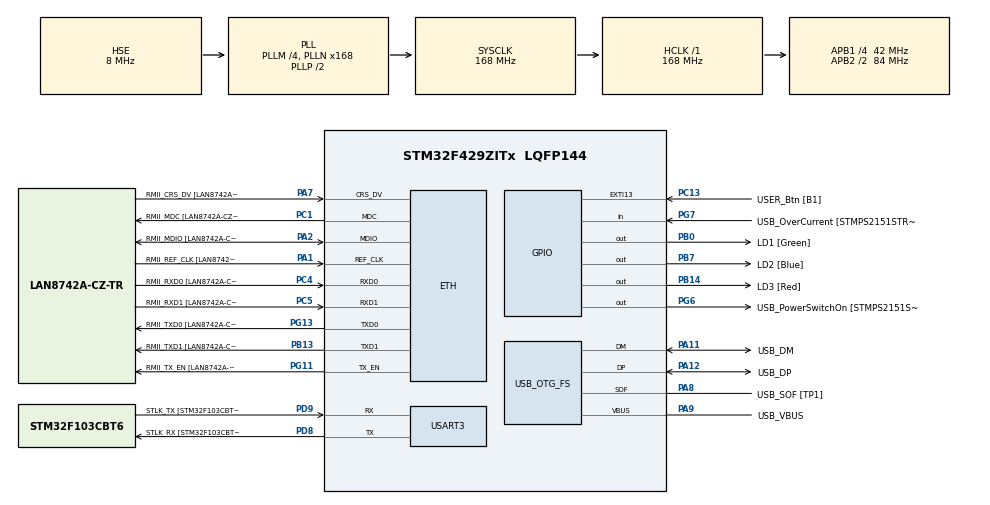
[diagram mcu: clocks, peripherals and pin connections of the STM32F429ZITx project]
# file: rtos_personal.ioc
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ETH.MediaInterface=HAL_ETH_RMII_MODE
ETH.PHY_Name=LAN8742A_PHY_ADDRESS
ETH.PHY_Value=0
ETH.PhyAddress=0
FREERTOS.Tasks01=defaultTask,24,128,StartDefaultTask,Default,NULL,Dynamic,NULL,NULL
Mcu.Family=STM32F4
Mcu.Name=STM32F429ZITx
Mcu.Package=LQFP144
NVIC.PriorityGroup=NVIC_PRIORITYGROUP_4
PA1.GPIO_Label=RMII_REF_CLK [LAN8742A-CZ-TR_REFCLK0]
PA1.Mode=RMII
PA1.Signal=ETH_REF_CLK
PA10.GPIO_Label=USB_ID
PA10.Signal=USB_OTG_FS_ID
PA11.GPIO_Label=USB_DM
PA11.Mode=Device_Only
PA11.Signal=USB_OTG_FS_DM
PA12.GPIO_Label=USB_DP
PA12.Mode=Device_Only
PA12.Signal=USB_OTG_FS_DP
PA13.GPIO_Label=TMS
PA13.Mode=Serial_Wire
PA13.Signal=SYS_JTMS-SWDIO
PA14.GPIO_Label=TCK
PA14.Mode=Serial_Wire
PA14.Signal=SYS_JTCK-SWCLK
PA2.GPIO_Label=RMII_MDIO [LAN8742A-CZ-TR_MDIO]
PA2.Mode=RMII
PA2.Signal=ETH_MDIO
PA7.GPIO_Label=RMII_CRS_DV [LAN8742A-CZ-TR_CRS_DV]
PA7.Mode=RMII
PA7.Signal=ETH_CRS_DV
PA8.GPIO_Label=USB_SOF [TP1]
PA8.Mode=Activate_SOF_FS
PA8.Signal=USB_OTG_FS_SOF
PA9.GPIO_Label=USB_VBUS
PA9.Mode=Activate_VBUS
PA9.Signal=USB_OTG_FS_VBUS
PB0.GPIO_Label=LD1 [Green]
PB0.Signal=GPIO_Output
PB13.GPIO_Label=RMII_TXD1 [LAN8742A-CZ-TR_TXD1]
PB13.Mode=RMII
PB13.Signal=ETH_TXD1
PB14.GPIO_Label=LD3 [Red]
PB14.Signal=GPIO_Output
PB7.GPIO_Label=LD2 [Blue]
PB7.Signal=GPIO_Output
PC1.GPIO_Label=RMII_MDC [LAN8742A-CZ-TR_MDC]
PC1.Mode=RMII
PC1.Signal=ETH_MDC
PC13.GPIO_Label=USER_Btn [B1]
PC13.Signal=GPXTI13
PC14/OSC32_IN.Mode=LSE-External-Oscillator
PC14/OSC32_IN.Signal=RCC_OSC32_IN
PC15/OSC32_OUT.Mode=LSE-External-Oscillator
PC15/OSC32_OUT.Signal=RCC_OSC32_OUT
PC4.GPIO_Label=RMII_RXD0 [LAN8742A-CZ-TR_RXD0]
PC4.Mode=RMII
PC4.Signal=ETH_RXD0
PC5.GPIO_Label=RMII_RXD1 [LAN8742A-CZ-TR_RXD1]
PC5.Mode=RMII
PC5.Signal=ETH_RXD1
PD8.GPIO_Label=STLK_RX [STM32F103CBT6_PA3]
PD8.Mode=Asynchronous
PD8.Signal=USART3_TX
PD9.GPIO_Label=STLK_TX [STM32F103CBT6_PA2]
PD9.Mode=Asynchronous
PD9.Signal=USART3_RX
PG11.GPIO_Label=RMII_TX_EN [LAN8742A-CZ-TR_TXEN]
PG11.Mode=RMII
PG11.Signal=ETH_TX_EN
PG13.GPIO_Label=RMII_TXD0 [LAN8742A-CZ-TR_TXD0]
PG13.Mode=RMII
PG13.Signal=ETH_TXD0
PG6.GPIO_Label=USB_PowerSwitchOn [STMPS2151STR_EN]
PG6.Signal=GPIO_Output
PG7.GPIO_Label=USB_OverCurrent [STMPS2151STR_FAULT]
PG7.Signal=GPIO_Input
PH0/OSC_IN.GPIO_Label=MCO [STM32F103CBT6_PA8]
PH0/OSC_IN.Mode=HSE-External-Clock-Source
PH0/OSC_IN.Signal=RCC_OSC_IN
PH1/OSC_OUT.Mode=HSE-External-Clock-Source
PH1/OSC_OUT.Signal=RCC_OSC_OUT
ProjectManager.HeapSize=0x200
ProjectManager.StackSize=0x400
ProjectManager.TargetToolchain=STM32CubeIDE
RCC.48MHZClocksFreq_Value=48000000
RCC.AHBFreq_Value=168000000
RCC.APB1CLKDivider=RCC_HCLK_DIV4
RCC.APB1Freq_Value=42000000
RCC.APB1TimFreq_Value=84000000
RCC.APB2CLKDivider=RCC_HCLK_DIV2
RCC.APB2Freq_Value=84000000
RCC.APB2TimCLKDivider=2
RCC.APB2TimFreq_Value=168000000
RCC.CortexFreq_Value=168000000
RCC.HCLKFreq_Value=168000000
RCC.HSE_VALUE=8000000
RCC.HSI_VALUE=16000000
RCC.PLLM=4
RCC.PLLMUL=RCC_PLL_MUL9
RCC.PLLN=168
RCC.PLLQ=7
RCC.PRESCALERUSB=RCC_USBCLKSOURCE_PLL_DIV1_5
RCC.SYSCLKFreq_VALUE=168000000
RCC.SYSCLKSource=RCC_SYSCLKSOURCE_PLLCLK
RCC.SYSCLKSourceVirtual=RCC_SYSCLKSOURCE_PLLCLK
RCC.USBFreq_Value=48000000
RCC.VCOOutputFreq_Value=336000000
USART3.VirtualMode=VM_ASYNC
USB_OTG_FS.VirtualMode=Device_Only
VP_FREERTOS_VS_CMSIS_V2.Mode=CMSIS_V2
board=NUCLEO-F429ZI

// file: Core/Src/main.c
/* USER CODE BEGIN Header */
/**
  ******************************************************************************
  * @file           : main.c
  * @brief          : Main program body
  ******************************************************************************
  * @attention
  *
  * Copyright (c) 2026 STMicroelectronics.
  * All rights reserved.
  *------------------------------------------https://doctor-moon.notion.site/4-349b651a925a8009bdbce1a3fcf06975
  * This software is licensed under terms that can be found in the LICENSE file
  * in the root directory of this software component.
  * If no LICENSE file comes with this software, it is provided AS-IS.
  *
  ******************************************************************************
  */
/* USER CODE END Header */
#include "main.h"
#include "string.h"
#include "cmsis_os.h"

/* USER CODE BEGIN Includes */
#include <stdio.h>
#include <stdlib.h>
#include <semphr.h>
/* USER CODE END Includes */

/* USER CODE BEGIN PD */
//transmit
enum {
	i2c_start_t = 0, //start bit set
	i2c_ev5_t,       //>> interrupt, I2C_SR1 Read, I2C_DR Write address
	i2c_ev6_t,       //>> interrupt, I2C_SR1 Read, I2C_SR2 Read (addr clear)
	i2c_ev8_t,       //>> TXE interrupt, i2c_DR write
	i2c_ev8_2_t      //>> interrupt,if BTF=1 > I2C_CR1 STOP bit set
};

//receive 2byte
enum {
	i2c_start_r = 5, //start bit set
	i2c_ev5_r,       //>> interrupt, I2C_SR1 Read, I2C_DR Write address
	i2c_ev6_r,       //>> interrupt,Set ACK low, (set POS high), I2C_SR1 Read, I2C_SR2 Read(addr clear)
	i2c_ev7_1_r,     //>> RXNE interrupt, if BTF = 1 > set stop bit, i2c_DR read 2번
};

//receive nbyte
enum {
	i2c_start_rn = 9, //start bit set
	i2c_ev5_rn,       //>> interrupt, I2C_SR1 Read, I2C_DR Write address
	i2c_ev6_rn,       //>> interrupt, I2C_SR1 Read, I2C_SR2 Read(addr clear)
	i2c_ev7_rn,     //>> RXNE interrupt, i2c_DR read
	// 만약 남은 데이터가 3개가 되면 -> i2c_ev7_1b_r 상태로 전환
	i2c_ev7_1b_rn,     //>> RXNE interrupt,if BTF = 1 > set ack low, i2c_DR read
	i2c_ev7_1_rn		//>> RXNE interrupt, if BTF = 1 > set stop bit, i2c_DR read 2번
};

int STATE_I2C;

#define ADXLADDR 100

xSemaphoreHandle i2c_Sem;
/* USER CODE END PD */

ETH_TxPacketConfig TxConfig;
ETH_DMADescTypeDef  DMARxDscrTab[ETH_RX_DESC_CNT]; /* Ethernet Rx DMA Descriptors */
ETH_DMADescTypeDef  DMATxDscrTab[ETH_TX_DESC_CNT]; /* Ethernet Tx DMA Descriptors */

ETH_HandleTypeDef heth;

UART_HandleTypeDef huart3;

PCD_HandleTypeDef hpcd_USB_OTG_FS;

/* Definitions for defaultTask */
osThreadId_t defaultTaskHandle;
const osThreadAttr_t defaultTask_attributes = {
  .name = "defaultTask",
  .stack_size = 128 * 4,
  .priority = (osPriority_t) osPriorityNormal,
};

void SystemClock_Config(void);
static void MX_GPIO_Init(void);
static void MX_ETH_Init(void);
static void MX_USART3_UART_Init(void);
static void MX_USB_OTG_FS_PCD_Init(void);
void StartDefaultTask(void *argument);

/* USER CODE BEGIN PFP */
void TIM6_INIT(void);
void I2C2_INIT(void);
void I2C2_Task(void *argument);
/* USER CODE END PFP */

int main(void)
{

  /* MCU Configuration--------------------------------------------------------*/

  /* Reset of all peripherals, Initializes the Flash interface and the Systick. */
  HAL_Init();

  /* USER CODE BEGIN Init */
  I2C2_INIT();
  TIM6_INIT();

  /* USER CODE END Init */

  /* Configure the system clock */
  SystemClock_Config();

  /* Initialize all configured peripherals */
  MX_GPIO_Init();
  MX_ETH_Init();
  MX_USART3_UART_Init();
  MX_USB_OTG_FS_PCD_Init();

  /* Init scheduler */
  osKernelInitialize();

  /* USER CODE BEGIN RTOS_SEMAPHORES */
  i2c_Sem = xSemaphoreCreateBinary();
  /* USER CODE END RTOS_SEMAPHORES */

  /* Create the thread(s) */
  /* creation of defaultTask */
  defaultTaskHandle = osThreadNew(StartDefaultTask, NULL, &defaultTask_attributes);

  /* USER CODE BEGIN RTOS_THREADS */
  xTaskCreate(I2C2_Task, "I2C2_Task", 1000,NULL, 10,NULL);
  //xTaskCreate(I2C2_Task, "I2C2_Task", 1000,NULL, 10,NULL);
  /* USER CODE END RTOS_THREADS */

  /* USER CODE BEGIN RTOS_EVENTS */
  NVIC_SetPriority((IRQn_Type)31, 12);      //configMAX_SYSCALL_INTERRUPT_PRIORITY == 5보다 낮게 설정
  NVIC_EnableIRQ(31);
  NVIC_SetPriority((IRQn_Type)54, 12);
  NVIC_EnableIRQ(54); //timer6 interrupt enable
  /* USER CODE END RTOS_EVENTS */

  /* Start scheduler */
  osKernelStart();

  /* We should never get here as control is now taken by the scheduler */

  /* Infinite loop */
  while (1)
  {

  }
}

void SystemClock_Config(void)
{
  RCC_OscInitTypeDef RCC_OscInitStruct = {0};
  RCC_ClkInitTypeDef RCC_ClkInitStruct = {0};

  /** Configure the main internal regulator output voltage
  */
  __HAL_RCC_PWR_CLK_ENABLE();
  __HAL_PWR_VOLTAGESCALING_CONFIG(PWR_REGULATOR_VOLTAGE_SCALE1);

  /** Initializes the RCC Oscillators according to the specified parameters
  * in the RCC_OscInitTypeDef structure.
  */
  RCC_OscInitStruct.OscillatorType = RCC_OSCILLATORTYPE_HSE;
  RCC_OscInitStruct.HSEState = RCC_HSE_BYPASS;
  RCC_OscInitStruct.PLL.PLLState = RCC_PLL_ON;
  RCC_OscInitStruct.PLL.PLLSource = RCC_PLLSOURCE_HSE;
  RCC_OscInitStruct.PLL.PLLM = 4;
  RCC_OscInitStruct.PLL.PLLN = 168;
  RCC_OscInitStruct.PLL.PLLP = RCC_PLLP_DIV2;
  RCC_OscInitStruct.PLL.PLLQ = 7;
  if (HAL_RCC_OscConfig(&RCC_OscInitStruct) != HAL_OK)
  {
    Error_Handler();
  }

  /** Initializes the CPU, AHB and APB buses clocks
  */
  RCC_ClkInitStruct.ClockType = RCC_CLOCKTYPE_HCLK|RCC_CLOCKTYPE_SYSCLK
                              |RCC_CLOCKTYPE_PCLK1|RCC_CLOCKTYPE_PCLK2;
  RCC_ClkInitStruct.SYSCLKSource = RCC_SYSCLKSOURCE_PLLCLK;
  RCC_ClkInitStruct.AHBCLKDivider = RCC_SYSCLK_DIV1;
  RCC_ClkInitStruct.APB1CLKDivider = RCC_HCLK_DIV4;
  RCC_ClkInitStruct.APB2CLKDivider = RCC_HCLK_DIV2;

  if (HAL_RCC_ClockConfig(&RCC_ClkInitStruct, FLASH_LATENCY_5) != HAL_OK)
  {
    Error_Handler();
  }
}

static void MX_ETH_Init(void)
{

   static uint8_t MACAddr[6];

  heth.Instance = ETH;
  MACAddr[0] = 0x00;
  MACAddr[1] = 0x80;
  MACAddr[2] = 0xE1;
  MACAddr[3] = 0x00;
  MACAddr[4] = 0x00;
  MACAddr[5] = 0x00;
  heth.Init.MACAddr = &MACAddr[0];
  heth.Init.MediaInterface = HAL_ETH_RMII_MODE;
  heth.Init.TxDesc = DMATxDscrTab;
  heth.Init.RxDesc = DMARxDscrTab;
  heth.Init.RxBuffLen = 1524;

  if (HAL_ETH_Init(&heth) != HAL_OK)
  {
    Error_Handler();
  }

  memset(&TxConfig, 0 , sizeof(ETH_TxPacketConfig));
  TxConfig.Attributes = ETH_TX_PACKETS_FEATURES_CSUM | ETH_TX_PACKETS_FEATURES_CRCPAD;
  TxConfig.ChecksumCtrl = ETH_CHECKSUM_IPHDR_PAYLOAD_INSERT_PHDR_CALC;
  TxConfig.CRCPadCtrl = ETH_CRC_PAD_INSERT;

}

static void MX_USART3_UART_Init(void)
{

  huart3.Instance = USART3;
  huart3.Init.BaudRate = 115200;
  huart3.Init.WordLength = UART_WORDLENGTH_8B;
  huart3.Init.StopBits = UART_STOPBITS_1;
  huart3.Init.Parity = UART_PARITY_NONE;
  huart3.Init.Mode = UART_MODE_TX_RX;
  huart3.Init.HwFlowCtl = UART_HWCONTROL_NONE;
  huart3.Init.OverSampling = UART_OVERSAMPLING_16;
  if (HAL_UART_Init(&huart3) != HAL_OK)
  {
    Error_Handler();
  }

}

static void MX_USB_OTG_FS_PCD_Init(void)
{

  hpcd_USB_OTG_FS.Instance = USB_OTG_FS;
  hpcd_USB_OTG_FS.Init.dev_endpoints = 4;
  hpcd_USB_OTG_FS.Init.speed = PCD_SPEED_FULL;
  hpcd_USB_OTG_FS.Init.dma_enable = DISABLE;
  hpcd_USB_OTG_FS.Init.phy_itface = PCD_PHY_EMBEDDED;
  hpcd_USB_OTG_FS.Init.Sof_enable = ENABLE;
  hpcd_USB_OTG_FS.Init.low_power_enable = DISABLE;
  hpcd_USB_OTG_FS.Init.lpm_enable = DISABLE;
  hpcd_USB_OTG_FS.Init.vbus_sensing_enable = ENABLE;
  hpcd_USB_OTG_FS.Init.use_dedicated_ep1 = DISABLE;
  if (HAL_PCD_Init(&hpcd_USB_OTG_FS) != HAL_OK)
  {
    Error_Handler();
  }

}

static void MX_GPIO_Init(void)
{
  GPIO_InitTypeDef GPIO_InitStruct = {0};

  /* GPIO Ports Clock Enable */
  __HAL_RCC_GPIOC_CLK_ENABLE();
  __HAL_RCC_GPIOH_CLK_ENABLE();
  __HAL_RCC_GPIOA_CLK_ENABLE();
  __HAL_RCC_GPIOB_CLK_ENABLE();
  __HAL_RCC_GPIOD_CLK_ENABLE();
  __HAL_RCC_GPIOG_CLK_ENABLE();

  /*Configure GPIO pin Output Level */
  HAL_GPIO_WritePin(GPIOB, LD1_Pin|LD3_Pin|LD2_Pin, GPIO_PIN_RESET);

  /*Configure GPIO pin Output Level */
  HAL_GPIO_WritePin(USB_PowerSwitchOn_GPIO_Port, USB_PowerSwitchOn_Pin, GPIO_PIN_RESET);

  /*Configure GPIO pin : USER_Btn_Pin */
  GPIO_InitStruct.Pin = USER_Btn_Pin;
  GPIO_InitStruct.Mode = GPIO_MODE_IT_RISING;
  GPIO_InitStruct.Pull = GPIO_NOPULL;
  HAL_GPIO_Init(USER_Btn_GPIO_Port, &GPIO_InitStruct);

  /*Configure GPIO pins : LD1_Pin LD3_Pin LD2_Pin */
  GPIO_InitStruct.Pin = LD1_Pin|LD3_Pin|LD2_Pin;
  GPIO_InitStruct.Mode = GPIO_MODE_OUTPUT_PP;
  GPIO_InitStruct.Pull = GPIO_NOPULL;
  GPIO_InitStruct.Speed = GPIO_SPEED_FREQ_LOW;
  HAL_GPIO_Init(GPIOB, &GPIO_InitStruct);

  /*Configure GPIO pin : USB_PowerSwitchOn_Pin */
  GPIO_InitStruct.Pin = USB_PowerSwitchOn_Pin;
  GPIO_InitStruct.Mode = GPIO_MODE_OUTPUT_PP;
  GPIO_InitStruct.Pull = GPIO_NOPULL;
  GPIO_InitStruct.Speed = GPIO_SPEED_FREQ_LOW;
  HAL_GPIO_Init(USB_PowerSwitchOn_GPIO_Port, &GPIO_InitStruct);

  /*Configure GPIO pin : USB_OverCurrent_Pin */
  GPIO_InitStruct.Pin = USB_OverCurrent_Pin;
  GPIO_InitStruct.Mode = GPIO_MODE_INPUT;
  GPIO_InitStruct.Pull = GPIO_NOPULL;
  HAL_GPIO_Init(USB_OverCurrent_GPIO_Port, &GPIO_InitStruct);

}

/* USER CODE BEGIN 4 */
void UART3_Init_NoHal() {
    // 168MHz 분주비 매칭 보레이트 레지스터 삽입 (APB1 = 42MHz 기준 115200bps)
    USART3->CR1 &= ~(0x1 << 13); // 잠시 모듈 비활성화 후 세팅
    USART3->BRR = 0x16D;
    USART3->CR1 |= (0x1 << 13) | (0x3 << 2); // UE, TE, RE 설정 활성화
}

void UART3_Send_Byte(char ch) {
    if (ch == '\n') {
        while(!(USART3->SR & (1 << 7)));
        USART3->DR = '\r';
    }
    while(!(USART3->SR & (1 << 7)));
    USART3->DR = ch;
}

void UART3_Send_String(char* p) {
    while (*p) {
        UART3_Send_Byte(*p++);
    }
}

void I2C2_Task(void *argument)
{
	STATE_I2C = i2c_start_rn;
  /* Infinite loop */
  for(;;)
  {
	if(xSemaphoreTake(i2c_Sem, portMAX_DELAY)){
		while(!((USART3->SR >> 7) & 0x1)){};
		USART3->DR = 'x';

		//start bit set
		I2C2->CR1 |= (1<<8);  // interrupt
	}

  }

}

void I2C2_INIT(void){
	RCC->APB1ENR |= (1<< 22); //I2C2 clock enable
	RCC->AHB1ENR |= (1<<1);	  //gpioB enable

	//GPIO         moder = 10, OTYPER = 1, PUPDR = 01 open drain + pull up, AF = 4
	GPIOB->MODER |= (2 << 10*2)|(2 << 11*2);  // AF
	GPIOB->OTYPER |= (1 << 10)|(1 << 11);     // open drain
	GPIOB->PUPDR |= (1 << 10*2)|(1 << 11*2);  // pull up
	GPIOB->AFR[1] &= ~(0xFF<<8);
	GPIOB->AFR[1] |= (0x44<<8);        // AF4 == i2c use

	//i2c2
	RCC->APB1RSTR |= (1<<22);  //i2c2 reset
	RCC->APB1RSTR &= ~(1<<22); //i2c2 reset x

	I2C2->CR1 &= ~(1<<0);   // peripheral disable 초기화

	I2C2->CR2 |= (1<<10)|(1<<9); //interrupt enable

	I2C2->CR2 &= ~(0x3F<<0);
	I2C2->CR2 |= 42;             // APB1 = 42MHz

	// CCR = 42MHz / (2 * 100kHz) = 210
	I2C2->CCR &= ~I2C_CCR_FS;       // Sm mode 선택 (0)
	I2C2->CCR &= ~I2C_CCR_CCR;      // 기존 CCR 비트 클리어
	I2C2->CCR = 210;

	I2C2->TRISE = 43;

	I2C2->CR1 |= (1<<0);   // peripheral enable
	I2C2->CR1 |= (1<<10);  //ack enable

	return;
}

void TIM6_INIT(void){
  RCC->APB1ENR |= RCC_APB1ENR_TIM6EN;
  TIM6->CR1 = 0;

  TIM6->ARR = 41999;
  TIM6->PSC = 999;
  TIM6->DIER |= 1;

  // [보완] UG 비트를 1로 설정하여 ARR과 PSC 값을 Shadow 레지스터로 즉시 강제 전송
  TIM6->EGR |= TIM_EGR_UG;
  // [보완] UG 비트를 누르면 인터럽트 플래그(SR->UIF)가 강제로 set, 켜기 전에 반드시 클리어
  TIM6->SR &= ~1;

  TIM6->CR1 |= 1<<0;  //counter enable

	return;
}

void TIM6_DAC_IRQHandler() {

	BaseType_t xHigherPriorityTaskWoken;
	xHigherPriorityTaskWoken = pdFALSE;

	if(TIM6->SR & 0x1){
		TIM6->SR &= ~1;
		//give semaphore
		xSemaphoreGiveFromISR(i2c_Sem, &xHigherPriorityTaskWoken);
		portYIELD_FROM_ISR(xHigherPriorityTaskWoken);
	}
}

void I2C2_EV_IRQHandler() {
	int __STATE_I2C = I2C->SR1; //sr1 read

	if (__STATE_I2C & 0x1){ //when start bit set
		I2C->DR = 0;//ADXLADDR + write or read 결정여부는 datasheet를 확인
		return;
	}

}

/* USER CODE END 4 */

void StartDefaultTask(void *argument)
{
  for(;;)
  {
    osDelay(1);
  }
}

void Error_Handler(void)
{
  __disable_irq();
  while (1)
  {
  }
}
